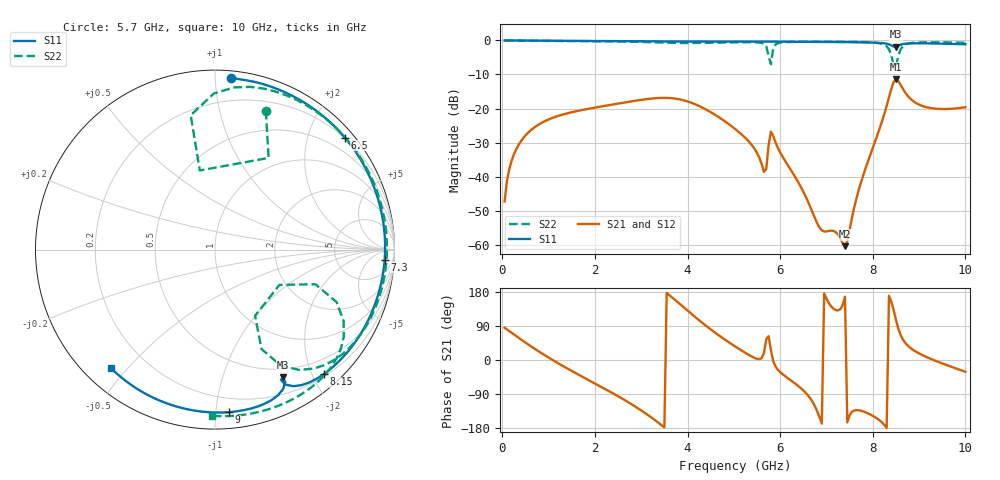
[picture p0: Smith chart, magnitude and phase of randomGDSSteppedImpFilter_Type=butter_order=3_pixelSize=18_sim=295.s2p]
! freq	dB(S11)	phase(S11)	dB(S12)	phase(S12)
!  dB(S21)	phase(S21)	dB(S22)	phase(S22)
!S-par simulation data
#  GHz  S  DB  R 50
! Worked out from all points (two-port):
!   200 points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, 50 MHz to 10 GHz, reference 50 ohm
!   highest |S21| = -11.39 dB at 8.5 GHz (marker M1); lowest = -60.4 dB at 7.4 GHz (marker M2)
!   |S21| within 3 dB of the highest: 8.398 GHz to 8.657 GHz (259 MHz wide, 3.04 % of centre)
!   lowest |S11| = -1.9 dB at 8.5 GHz (marker M3), VSWR 9.34, Z = 19.5 - j79.7 ohm
!   |S11| at or under -10 dB: nowhere
!   |S22| runs from -7.8 to 0.0 dB; largest |S21 - S12| = 0
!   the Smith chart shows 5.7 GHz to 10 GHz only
!   S11 on the Smith chart (normalised r, x): 5.7 GHz: 0.04, +1.10; 6.5 GHz: 0.19, +2.68; 7.3 GHz: 17, -18; 8.15 GHz: 0.24, -2.18; 9 GHz: 0.10, -1.09; 10 GHz: 0.08, -0.45
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0.05  -0.00 -2.7  -47.27 85.0  -47.27 85.0  -0.00 -6.3
0.25  -0.02 -13.4  -33.50 67.4  -33.50 67.4  -0.04 -31.2
0.8  -0.07 -42.3  -24.58 21.6  -24.58 21.6  -0.13 -94.2
1.75  -0.15 -89.6  -20.35 -45.6  -20.35 -45.6  -0.21 177.5
2.7  -0.23 -133.4  -18.09 -109.9  -18.09 -109.9  -0.34 92.2
3.4  -0.29 -164.4  -16.89 -168.3  -16.89 -168.3  -0.59 7.5
4.05  -0.31 166.6  -18.14 125.2  -18.14 125.2  -0.76 -94.5
4.55  -0.30 143.2  -21.47 76.2  -21.47 76.2  -0.65 -165.9
5.05  -0.31 118.6  -26.23 34.0  -26.23 34.0  -0.53 139.0
5.7  -0.35 84.7  -37.73 54.5  -37.73 54.5  -1.69 69.9
5.8  -0.36 79.4  -26.79 27.0  -26.79 27.0  -6.96 100.9
5.95  -0.35 71.2  -31.54 -25.7  -31.54 -25.7  -0.82 83.3
6.5  -0.39 40.8  -44.43 -80.3  -44.43 -80.3  -0.38 42.2
6.7  -0.41 29.7  -50.50 -110.6  -50.50 -110.6  -0.37 30.9
7.3  -0.47 -3.4  -58.12 134.2  -58.12 134.2  -0.37 0.4
7.4  -0.49 -8.8  -60.42 166.9  -60.42 166.9  -0.38 -4.4
8.15  -0.71 -48.9  -25.81 -159.5  -25.81 -159.5  -0.85 -42.6
8.35  -1.14 -60.2  -16.75 169.5  -16.75 169.5  -2.59 -60.4
8.5  -1.87 -62.0  -11.39 106.5  -11.39 106.5  -7.76 -28.7
8.65  -1.06 -66.7  -14.25 54.2  -14.25 54.2  -1.72 -29.1
9  -0.83 -85.0  -18.84 17.3  -18.84 17.3  -0.59 -53.1
10  -1.13 -131.3  -19.60 -31.1  -19.60 -31.1  -0.67 -91.2
